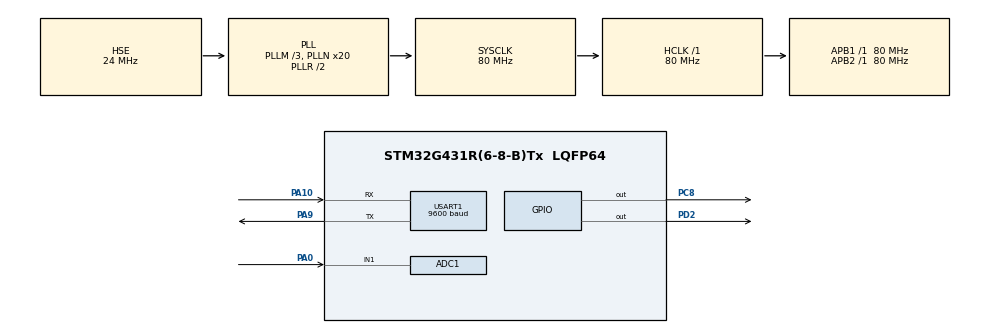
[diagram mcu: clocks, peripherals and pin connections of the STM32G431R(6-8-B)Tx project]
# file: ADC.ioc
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ADC1.Channel-0\#ChannelRegularConversion=ADC_CHANNEL_1
ADC1.NbrOfConversionFlag=1
ADC1.OffsetNumber-0\#ChannelRegularConversion=ADC_OFFSET_NONE
ADC1.Rank-0\#ChannelRegularConversion=1
ADC1.SamplingTime-0\#ChannelRegularConversion=ADC_SAMPLETIME_2CYCLES_5
ADC1.master=1
Mcu.Family=STM32G4
Mcu.Name=STM32G431R(6-8-B)Tx
Mcu.Package=LQFP64
NVIC.ADC1_2_IRQn=true\:0\:0\:false\:false\:true\:true\:true
NVIC.PriorityGroup=NVIC_PRIORITYGROUP_4
NVIC.USART1_IRQn=true\:0\:0\:false\:false\:true\:true\:true
PA0.Mode=IN1-Single-Ended
PA0.Signal=ADC1_IN1
PA10.Mode=Asynchronous
PA10.Signal=USART1_RX
PA13.Mode=Serial_Wire
PA13.Signal=SYS_JTMS-SWDIO
PA14.Mode=Serial_Wire
PA14.Signal=SYS_JTCK-SWCLK
PA9.Mode=Asynchronous
PA9.Signal=USART1_TX
PC8.PinState=GPIO_PIN_SET
PC8.Signal=GPIO_Output
PD2.Signal=GPIO_Output
PF0-OSC_IN.Mode=HSE-External-Oscillator
PF0-OSC_IN.Signal=RCC_OSC_IN
PF1-OSC_OUT.Mode=HSE-External-Oscillator
PF1-OSC_OUT.Signal=RCC_OSC_OUT
ProjectManager.HeapSize=0x200
ProjectManager.StackSize=0x400
ProjectManager.TargetToolchain=MDK-ARM V5
RCC.ADC12Freq_Value=80000000
RCC.AHBFreq_Value=80000000
RCC.APB1Freq_Value=80000000
RCC.APB1TimFreq_Value=80000000
RCC.APB2Freq_Value=80000000
RCC.APB2TimFreq_Value=80000000
RCC.CortexFreq_Value=80000000
RCC.EXTERNAL_CLOCK_VALUE=12288000
RCC.HCLKFreq_Value=80000000
RCC.HSE_VALUE=24000000
RCC.HSI48_VALUE=48000000
RCC.HSI_VALUE=16000000
RCC.LSE_VALUE=32768
RCC.PLLM=RCC_PLLM_DIV3
RCC.PLLN=20
RCC.PLLSourceVirtual=RCC_PLLSOURCE_HSE
RCC.SYSCLKFreq_VALUE=80000000
RCC.SYSCLKSource=RCC_SYSCLKSOURCE_PLLCLK
RCC.USBFreq_Value=80000000
RCC.VCOOutputFreq_Value=160000000
USART1.BaudRate=9600
USART1.VirtualMode-Asynchronous=VM_ASYNC
USART1.WordLength=WORDLENGTH_8B
VP_SYS_VS_DBSignals.Mode=DisableDeadBatterySignals
board=custom

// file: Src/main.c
/* USER CODE BEGIN Header */
/**
  ******************************************************************************
  * @file           : main.c
  * @brief          : Main program body
  ******************************************************************************
  * @attention
  *
  * <h2><center>&copy; Copyright (c) 2024 STMicroelectronics.
  * All rights reserved.</center></h2>
  *
  * This software component is licensed by ST under BSD 3-Clause license,
  * the "License"; You may not use this file except in compliance with the
  * License. You may obtain a copy of the License at:
  *                        opensource.org/licenses/BSD-3-Clause
  *
  ******************************************************************************
  */
/* USER CODE END Header */

#include "main.h"
#include "adc.h"
#include "usart.h"
#include "gpio.h"

/* USER CODE BEGIN PD */
#include "stdio.h"
#define LED1_ON HAL_GPIO_WritePin(GPIOC,GPIO_PIN_8,GPIO_PIN_RESET)
#define LED1_OFF HAL_GPIO_WritePin(GPIOC,GPIO_PIN_8,GPIO_PIN_SET)

uint16_t ADC_Value=0,ADC_Volt=0;
uint8_t str_buff[64];

//void ADC_Get_Value()
//{
//	HAL_ADC_Start(&hadc1);
//	LED1_ON;
//	HAL_GPIO_WritePin(GPIOD,GPIO_PIN_2,GPIO_PIN_SET);
//	HAL_GPIO_WritePin(GPIOD,GPIO_PIN_2,GPIO_PIN_RESET);
//	if(HAL_ADC_PollForConversion(&hadc1,10)==HAL_OK)
//		{
//			ADC_Value=HAL_ADC_GetValue(&hadc1);
//			ADC_Volt=ADC_Value*3300/4096;
//
//		}
//	sprintf((char *)str_buff,"Value:%d,Volt:%d.%d%dV\r\n",ADC_Value,ADC_Volt/100,(ADC_Volt%100)/10,ADC_Volt%10);
//	HAL_UART_Transmit(&huart1,str_buff,sizeof(str_buff),1000);
//	LED1_OFF;
//	HAL_GPIO_WritePin(GPIOD,GPIO_PIN_2,GPIO_PIN_SET);
//	HAL_GPIO_WritePin(GPIOD,GPIO_PIN_2,GPIO_PIN_RESET);
//	HAL_ADC_Stop(&hadc1);
//}

void HAL_ADC_ConvCpltCallback(ADC_HandleTypeDef *hadc)
{
	if(hadc->Instance==ADC1)
	{
		ADC_Value=HAL_ADC_GetValue(&hadc1);
		ADC_Volt=ADC_Value*3300/4096;
		sprintf((char *)str_buff,"Value:%d,Volt:%d.%d%dV\r\n",ADC_Value,ADC_Volt/100,(ADC_Volt%100)/10,ADC_Volt%10);
		HAL_UART_Transmit(&huart1,str_buff,sizeof(str_buff),1000);
		LED1_OFF;
		HAL_GPIO_WritePin(GPIOD,GPIO_PIN_2,GPIO_PIN_SET);
		HAL_GPIO_WritePin(GPIOD,GPIO_PIN_2,GPIO_PIN_RESET);
		HAL_ADC_Stop(&hadc1);
	}

}
/* USER CODE END PD */

void SystemClock_Config(void);

int main(void)
{

  /* MCU Configuration--------------------------------------------------------*/

  /* Reset of all peripherals, Initializes the Flash interface and the Systick. */
  HAL_Init();

  /* Configure the system clock */
  SystemClock_Config();

  /* Initialize all configured peripherals */
  MX_GPIO_Init();
  MX_ADC1_Init();
  MX_USART1_UART_Init();

  /* Infinite loop */
  while (1)
  {

    /* USER CODE BEGIN 3 */
		LED1_ON;
		HAL_GPIO_WritePin(GPIOD,GPIO_PIN_2,GPIO_PIN_SET);
		HAL_GPIO_WritePin(GPIOD,GPIO_PIN_2,GPIO_PIN_RESET);
		HAL_ADC_Start_IT(&hadc1);
		HAL_Delay(500);
  }
  /* USER CODE END 3 */
}

void SystemClock_Config(void)
{
  RCC_OscInitTypeDef RCC_OscInitStruct = {0};
  RCC_ClkInitTypeDef RCC_ClkInitStruct = {0};
  RCC_PeriphCLKInitTypeDef PeriphClkInit = {0};

  /** Configure the main internal regulator output voltage
  */
  HAL_PWREx_ControlVoltageScaling(PWR_REGULATOR_VOLTAGE_SCALE1);
  /** Initializes the CPU, AHB and APB busses clocks
  */
  RCC_OscInitStruct.OscillatorType = RCC_OSCILLATORTYPE_HSE;
  RCC_OscInitStruct.HSEState = RCC_HSE_ON;
  RCC_OscInitStruct.PLL.PLLState = RCC_PLL_ON;
  RCC_OscInitStruct.PLL.PLLSource = RCC_PLLSOURCE_HSE;
  RCC_OscInitStruct.PLL.PLLM = RCC_PLLM_DIV3;
  RCC_OscInitStruct.PLL.PLLN = 20;
  RCC_OscInitStruct.PLL.PLLP = RCC_PLLP_DIV2;
  RCC_OscInitStruct.PLL.PLLQ = RCC_PLLQ_DIV2;
  RCC_OscInitStruct.PLL.PLLR = RCC_PLLR_DIV2;
  if (HAL_RCC_OscConfig(&RCC_OscInitStruct) != HAL_OK)
  {
    Error_Handler();
  }
  /** Initializes the CPU, AHB and APB busses clocks
  */
  RCC_ClkInitStruct.ClockType = RCC_CLOCKTYPE_HCLK|RCC_CLOCKTYPE_SYSCLK
                              |RCC_CLOCKTYPE_PCLK1|RCC_CLOCKTYPE_PCLK2;
  RCC_ClkInitStruct.SYSCLKSource = RCC_SYSCLKSOURCE_PLLCLK;
  RCC_ClkInitStruct.AHBCLKDivider = RCC_SYSCLK_DIV1;
  RCC_ClkInitStruct.APB1CLKDivider = RCC_HCLK_DIV1;
  RCC_ClkInitStruct.APB2CLKDivider = RCC_HCLK_DIV1;

  if (HAL_RCC_ClockConfig(&RCC_ClkInitStruct, FLASH_LATENCY_3) != HAL_OK)
  {
    Error_Handler();
  }
  /** Initializes the peripherals clocks
  */
  PeriphClkInit.PeriphClockSelection = RCC_PERIPHCLK_USART1|RCC_PERIPHCLK_ADC12;
  PeriphClkInit.Usart1ClockSelection = RCC_USART1CLKSOURCE_PCLK2;
  PeriphClkInit.Adc12ClockSelection = RCC_ADC12CLKSOURCE_SYSCLK;
  if (HAL_RCCEx_PeriphCLKConfig(&PeriphClkInit) != HAL_OK)
  {
    Error_Handler();
  }
}

void Error_Handler(void)
{
}

/************************ (C) COPYRIGHT STMicroelectronics *****END OF FILE****/
